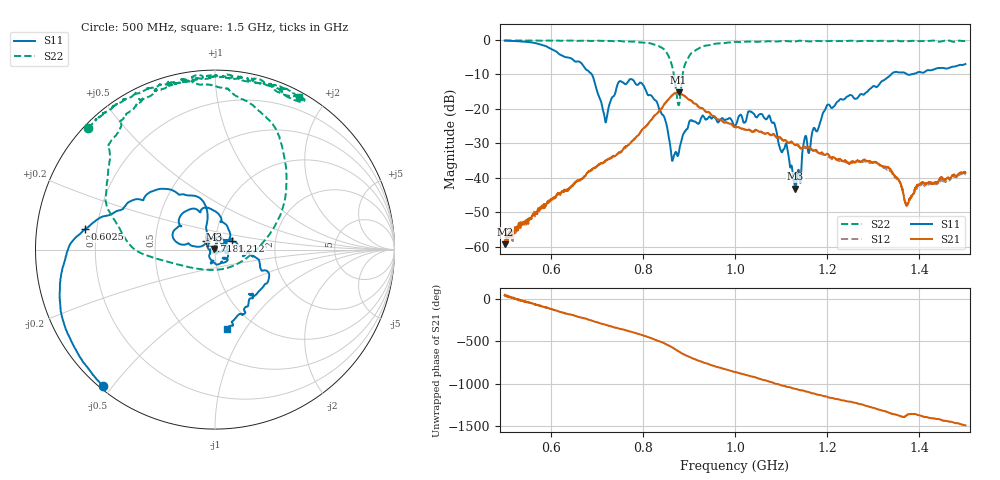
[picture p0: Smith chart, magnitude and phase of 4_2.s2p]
!Agilent Technologies,E8364B,US42250235,A.06.04.32
!Agilent E8364B: A.06.04.32
!Date: Friday, January 15, 2021 16:11:57
!Correction: S11(Full 2 Port(1,2)) S21(Full 2 Port(1,2)) S12(Full 2 Port(1,2)) S22(Full 2 Port(1,2))
!S2P File: Measurements: S11, S21, S12, S22:
# Hz S  dB  R 50
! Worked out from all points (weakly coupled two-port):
!   1601 points, 500 MHz to 1.5 GHz, reference 50 ohm
!   highest |S21| = -15.22 dB at 877.5 MHz (marker M1); lowest = -59.3 dB at 500.6 MHz (marker M2)
!   lowest |S11| = -43.2 dB at 1.131 GHz (marker M3), VSWR 1.01, Z = 49.4 + j0.375 ohm
!   |S11| at or under -10 dB: 689.4 MHz to 1.339 GHz (649.4 MHz wide, 64 % of centre); 1.374 GHz to 1.382 GHz (7.715 MHz wide, 0.56 % of centre)
!   |S22| runs from -19.0 to -0.1 dB; largest |S21 - S12| = 0.0087
!   S11 on the Smith chart (normalised r, x): 500 MHz: 0.01, -0.47; 602.5 MHz: 0.16, +0.08; 718.1 MHz: 0.90, +0.09; 1.212 GHz: 1.20, +0.11; 1.5 GHz: 0.75, -0.83
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5e8  -0.16 -129.4  -59.03 38.4  -58.45 36.9  -0.16 136.2
5.00625e8  -0.15 -129.7  -59.33 47.2  -59.85 43.0  -0.17 136.2
5.6e8  -0.76 -159.9  -51.10 -57.0  -50.84 -57.5  -0.15 129.1
6.025e8  -2.70 171.0  -46.34 -123.1  -46.29 -126.5  -0.18 125.7
6.66875e8  -6.77 132.6  -40.36 135.9  -40.59 134.8  -0.21 116.5
7.18125e8  -23.34 135.5  -35.04 54.6  -35.31 52.4  -0.28 111.7
7.475e8  -12.21 163.6  -32.72 9.8  -32.89 8.3  -0.25 105.1
7.7375e8  -11.33 130.8  -29.79 -27.5  -29.74 -30.0  -0.46 98.2
8.3375e8  -19.27 39.5  -20.89 -136.7  -20.98 -138.9  -1.73 73.4
8.6e8  -31.22 -31.6  -16.54 158.7  -16.73 156.8  -6.03 37.9
8.775e8  -33.06 -142.2  -15.22 101.9  -15.31 99.4  -18.95 -81.7
9.06875e8  -23.44 121.9  -17.77 21.5  -17.96 19.1  -3.64 157.2
1e9  -24.99 -8.2  -25.33 -141.3  -25.28 -143.5  -0.55 115.9
1.075625e9  -22.24 -107.8  -27.49 102.9  -27.35 100.6  -0.37 104.9
1.13125e9  -43.17 146.8  -30.55 21.5  -30.29 16.3  -0.42 95.2
1.150625e9  -28.94 76.3  -30.94 -4.5  -31.35 -8.8  -0.36 96.9
1.166875e9  -27.20 76.0  -31.82 -30.6  -31.93 -31.3  -0.36 91.4
1.211875e9  -19.60 26.8  -34.11 -86.7  -34.58 -92.0  -0.26 90.0
1.33375e9  -10.66 -23.5  -37.03 103.1  -37.57 99.2  -0.38 77.0
1.3725e9  -9.86 -52.1  -47.68 73.5  -48.30 66.4  -0.33 73.2
1.4025e9  -9.34 -52.7  -41.89 68.3  -41.87 61.2  -0.33 70.9
1.5e9  -6.98 -81.7  -38.52 -47.4  -38.90 -54.0  -0.27 61.2
